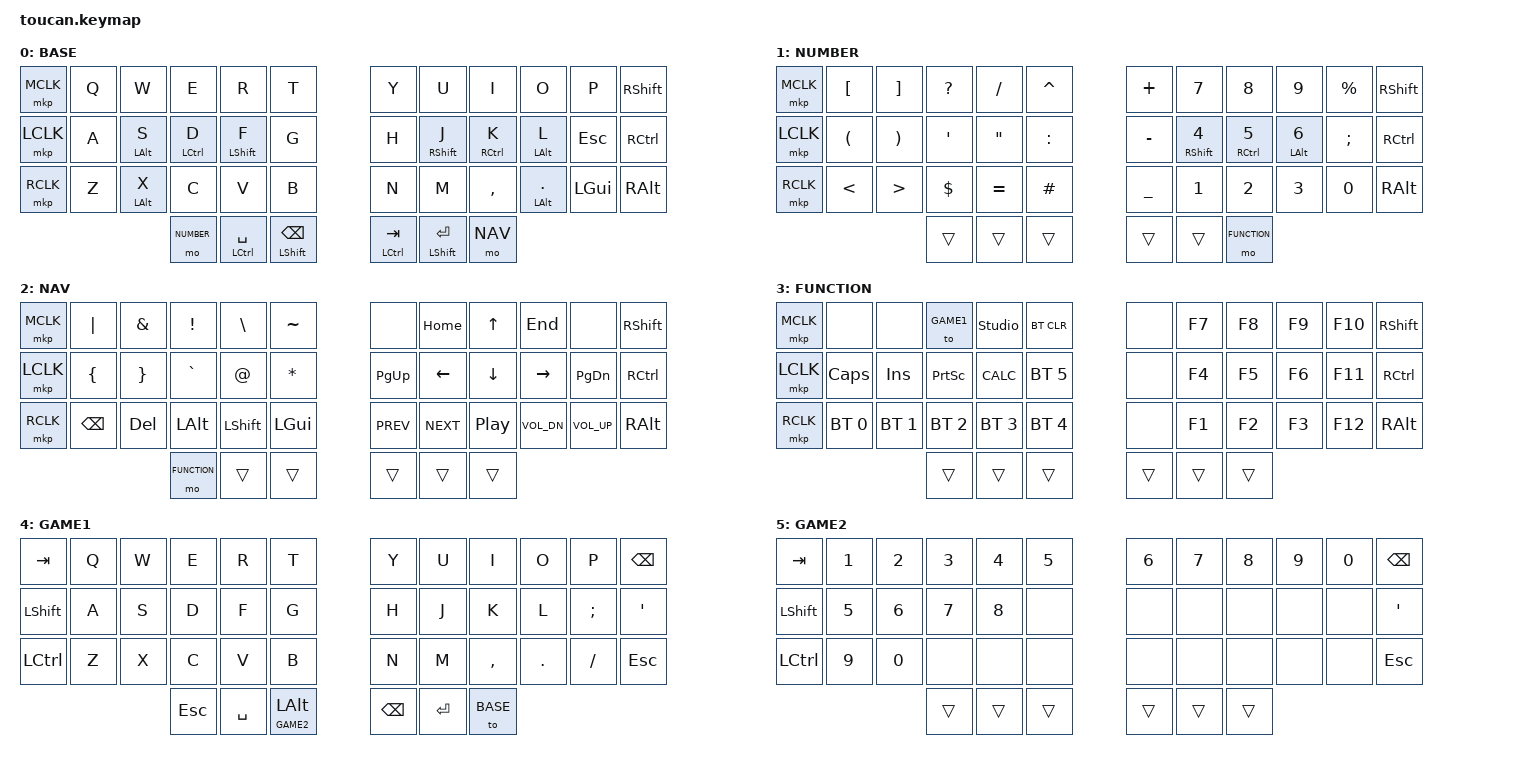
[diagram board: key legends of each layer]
#include <behaviors.dtsi>
#include <dt-bindings/zmk/keys.h>
#include <dt-bindings/zmk/bt.h>
#include <dt-bindings/zmk/outputs.h>
#include <dt-bindings/zmk/mouse.h>

#define BASE     0
#define NUMBER   1
#define NAV      2
#define FUNCTION 3
#define GAME1    4
#define GAME2    5

/ {
    behaviors {
        hm: homerow_mods {
            compatible = "zmk,behavior-hold-tap";
            #binding-cells = <2>;
            tapping-term-ms = <200>;
            quick-tap-ms = <0>;
            flavor = "tap-preferred";
            bindings = <&kp>, <&kp>;
        };

        th: thumb_hold_tap {
            compatible = "zmk,behavior-hold-tap";
            #binding-cells = <2>;
            tapping-term-ms = <200>;
            quick-tap-ms = <0>;
            flavor = "balanced";
            bindings = <&kp>, <&kp>;
        };
    };

    keymap {
        compatible = "zmk,keymap";

        base {
            display-name = "BASE";
            bindings = <
                &mkp MCLK  &kp Q  &kp W       &kp E        &kp R           &kp T               &kp Y  &kp U        &kp I         &kp O       &kp P    &kp RSHFT
                &mkp LCLK  &kp A  &hm LALT S  &hm LCTRL D  &hm LSHFT F     &kp G               &kp H  &hm RSHFT J  &hm RCTRL K   &hm LALT L  &kp ESC  &kp RCTRL
                &mkp RCLK  &kp Z  &hm LALT X  &kp C        &kp V           &kp B               &kp N  &kp M        &kp COMMA     &hm LALT DOT &kp LGUI &kp RALT
                                              &mo NUMBER   &th LCTRL SPACE &th LSHFT BSPC      &th LCTRL TAB       &th LSHFT RET &mo NAV
            >;
        };

        number {
            display-name = "NUMBER";
            bindings = <
                &mkp MCLK  &kp LBKT  &kp RBKT  &kp QMARK  &kp FSLH  &kp CARET      &kp PLUS   &kp N7       &kp N8       &kp N9       &kp PRCNT  &kp RSHFT
                &mkp LCLK  &kp LPAR  &kp RPAR  &kp SQT    &kp DQT   &kp COLON      &kp MINUS  &hm RSHFT N4 &hm RCTRL N5 &hm LALT N6  &kp SEMI   &kp RCTRL
                &mkp RCLK  &kp LT    &kp GT    &kp DLLR   &kp EQUAL &kp HASH       &kp UNDER  &kp N1       &kp N2       &kp N3       &kp N0     &kp RALT
                                               &trans     &trans    &trans         &trans     &trans       &mo FUNCTION
            >;
        };

        nav {
            display-name = "NAV";
            bindings = <
                &mkp MCLK  &kp PIPE  &kp AMPS  &kp EXCL     &kp BSLH  &kp TILDE      &none      &kp HOME   &kp UP    &kp END    &none      &kp RSHFT
                &mkp LCLK  &kp LBRC  &kp RBRC  &kp GRAVE    &kp AT    &kp STAR       &kp PG_UP  &kp LEFT   &kp DOWN  &kp RIGHT  &kp PG_DN  &kp RCTRL
                &mkp RCLK  &kp BSPC  &kp DEL   &kp LALT     &kp LSHFT &kp LGUI       &kp C_PREV &kp C_NEXT &kp C_PP &kp C_VOL_DN &kp C_VOL_UP &kp RALT
                                               &mo FUNCTION &trans    &trans         &trans     &trans     &trans
            >;
        };

        function {
            display-name = "FUNCTION";
            bindings = <
                &mkp MCLK  &none      &none        &to GAME1    &studio_unlock &bt BT_CLR      &none   &kp F7  &kp F8  &kp F9  &kp F10  &kp RSHFT
                &mkp LCLK  &kp CAPS   &kp INS      &kp PSCRN    &kp K_CALC     &bt BT_SEL 5    &none   &kp F4  &kp F5  &kp F6  &kp F11  &kp RCTRL
                &mkp RCLK  &bt BT_SEL 0 &bt BT_SEL 1 &bt BT_SEL 2 &bt BT_SEL 3 &bt BT_SEL 4    &none   &kp F1  &kp F2  &kp F3  &kp F12  &kp RALT
                                                   &trans       &trans         &trans          &trans  &trans  &trans
            >;
        };

        game1 {
            display-name = "GAME1";
            bindings = <
                &kp TAB    &kp Q  &kp W  &kp E   &kp R     &kp T             &kp Y     &kp U    &kp I      &kp O    &kp P     &kp BSPC
                &kp LSHFT  &kp A  &kp S  &kp D   &kp F     &kp G             &kp H     &kp J    &kp K      &kp L    &kp SEMI  &kp SQT
                &kp LCTRL  &kp Z  &kp X  &kp C   &kp V     &kp B             &kp N     &kp M    &kp COMMA  &kp DOT  &kp FSLH  &kp ESC
                                         &kp ESC &kp SPACE &lt GAME2 LALT    &kp BSPC  &kp RET  &to BASE
            >;
        };

        game2 {
            display-name = "GAME2";
            bindings = <
                &kp TAB    &kp N1  &kp N2  &kp N3  &kp N4  &kp N5      &kp N6  &kp N7  &kp N8  &kp N9  &kp N0  &kp BSPC
                &kp LSHFT  &kp N5  &kp N6  &kp N7  &kp N8  &none       &none   &none   &none   &none   &none   &kp SQT
                &kp LCTRL  &kp N9  &kp N0  &none   &none   &none       &none   &none   &none   &none   &none   &kp ESC
                                           &trans  &trans  &trans      &trans  &trans  &trans
            >;
        };
    };
};
